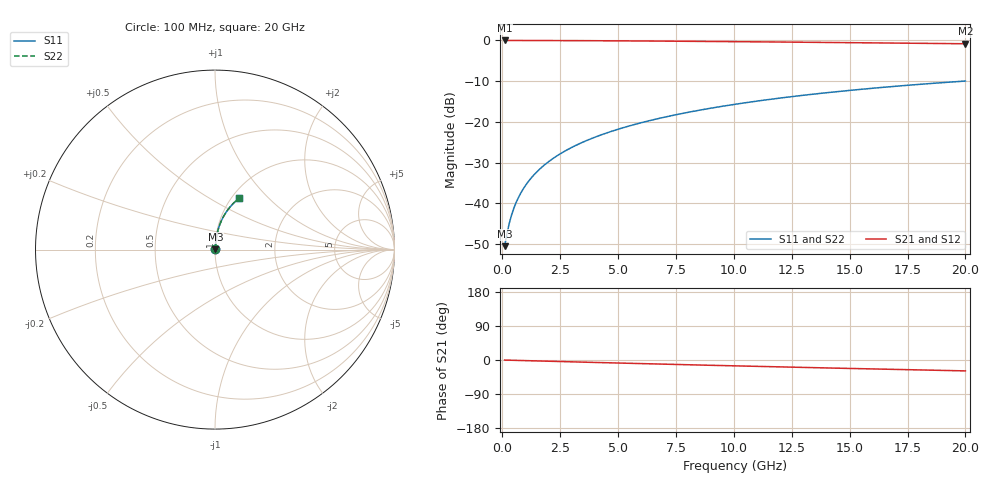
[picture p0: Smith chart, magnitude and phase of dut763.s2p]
! Touchstone file exported from HFSS 2024.1.0
!  File:  C:/UserFiles/LocalFiles/RDL_TSV_Batchsim/temp_RDL_bottom_763_1779860277.aedt
!  Generated:  01:40:42 PM May 27, 2026
!  Design:  RDL_bottom
!  Project:  temp_RDL_bottom_763_1779860277
!  Setup:  Setup1
!  Solution:  Sweep
! Variables:
!  dtsv = 10.80580581um
!  hbump = 3um
!  htsv = 90.49um
!  ldown = 374.07um
!  lrdl = 100um
!  p = 40
!  p1 = 44.5um
!  rhole = 1um
!  t = 450um
!  tdown = 3.69um
!  trdl = 3.915915916um
!  wdown = 15.56um
!  wrdl = 20um
# GHz S MA R 50.000000
! Terminal data exported
! Port[1] = RDL1_T1
! Port[2] = RDL1_T2
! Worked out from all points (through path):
!   200 points, 100 MHz to 20 GHz, reference 50 ohm
!   highest |S21| = -0.02 dB at 100 MHz (marker M1); lowest = -0.8 dB at 20 GHz (marker M2)
!   group delay of S21, straight-line fit = 3.98 ps
!   lowest |S11| = -50.5 dB at 100 MHz (marker M3), VSWR 1.01, Z = 50.2 + j0.172 ohm
!   |S11| at or under -10 dB: start of sweep to 19.93 GHz
!   |S22| runs from -50.5 to -10.0 dB; largest |S21 - S12| = 4.1e-15
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0.1  0.002992 34.9  0.9975 -0.2  0.9975 -0.2  0.002992 34.9
! Gamma 0 0 0 0
! Port Impedance 50 0 50 0
0.2  0.004232 53.5  0.9975 -0.3  0.9975 -0.3  0.004232 53.5
0.3  0.005688 62.8  0.9974 -0.5  0.9974 -0.5  0.005688 62.8
0.4  0.007207 68.1  0.9973 -0.7  0.9973 -0.7  0.007207 68.1
0.5  0.008748 71.5  0.9972 -0.8  0.9972 -0.8  0.008748 71.5
0.6  0.0103 73.9  0.9971 -1.0  0.9971 -1.0  0.0103 73.9
0.8  0.01342 77.1  0.9969 -1.3  0.9969 -1.3  0.01342 77.1
1.1  0.01815 79.8  0.9966 -1.8  0.9966 -1.8  0.01815 79.8
1.5  0.02452 81.7  0.9961 -2.5  0.9961 -2.5  0.02452 81.7
1.8  0.02932 82.5  0.9957 -2.9  0.9957 -2.9  0.02932 82.5
2.1  0.03414 83.0  0.9952 -3.4  0.9952 -3.4  0.03414 83.0
2.7  0.04382 83.5  0.9939 -4.4  0.9939 -4.4  0.04382 83.5
3.5  0.05679 83.5  0.9919 -5.7  0.9919 -5.7  0.05679 83.5
4.2  0.0682 83.2  0.9898 -6.8  0.9898 -6.8  0.0682 83.2
5  0.08129 82.7  0.987 -8.0  0.987 -8.0  0.08129 82.7
5.9  0.09609 82.0  0.9836 -9.4  0.9836 -9.4  0.09609 82.0
6.8  0.1109 81.2  0.9799 -10.7  0.9799 -10.7  0.1109 81.2
8.3  0.1357 79.6  0.9731 -13.0  0.9731 -13.0  0.1357 79.6
10.1  0.1653 77.5  0.9643 -15.6  0.9643 -15.6  0.1653 77.5
13.4  0.2185 73.3  0.9469 -20.1  0.9469 -20.1  0.2185 73.3
16.7  0.2694 69.0  0.9283 -24.5  0.9283 -24.5  0.2694 69.0
20  0.3172 64.8  0.9088 -28.8  0.9088 -28.8  0.3172 64.8
